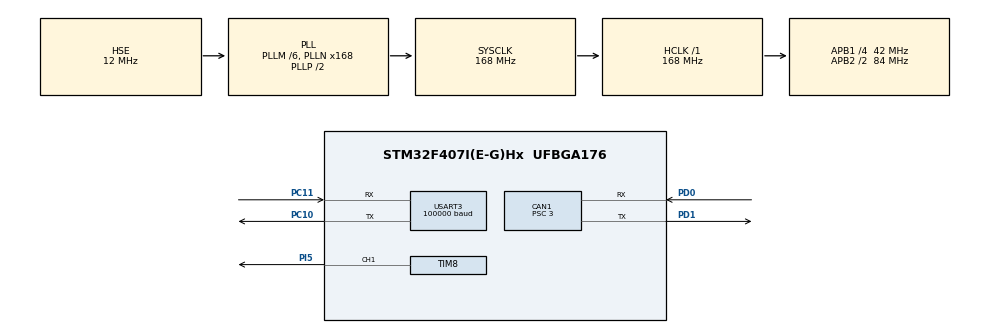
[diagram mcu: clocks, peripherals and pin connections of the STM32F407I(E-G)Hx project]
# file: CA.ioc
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CAN1.BS1=CAN_BS1_7TQ
CAN1.BS2=CAN_BS2_6TQ
CAN1.CalculateBaudRate=1000000
CAN1.CalculateTimeBit=1000
CAN1.CalculateTimeQuantum=71.42857142857143
CAN1.Prescaler=3
Dma.Request0=USART3_RX
Dma.USART3_RX.0.Direction=DMA_PERIPH_TO_MEMORY
Dma.USART3_RX.0.FIFOMode=DMA_FIFOMODE_DISABLE
Dma.USART3_RX.0.Instance=DMA1_Stream1
Dma.USART3_RX.0.MemDataAlignment=DMA_MDATAALIGN_BYTE
Dma.USART3_RX.0.MemInc=DMA_MINC_ENABLE
Dma.USART3_RX.0.Mode=DMA_NORMAL
Dma.USART3_RX.0.PeriphDataAlignment=DMA_PDATAALIGN_BYTE
Dma.USART3_RX.0.PeriphInc=DMA_PINC_DISABLE
Dma.USART3_RX.0.Priority=DMA_PRIORITY_VERY_HIGH
Mcu.Family=STM32F4
Mcu.Name=STM32F407I(E-G)Hx
Mcu.Package=UFBGA176
NVIC.CAN1_RX0_IRQn=true\:0\:1\:true\:false\:true\:true\:true\:true
NVIC.DMA1_Stream1_IRQn=true\:0\:0\:false\:false\:true\:false\:true\:true
NVIC.PriorityGroup=NVIC_PRIORITYGROUP_2
NVIC.TIM1_UP_TIM10_IRQn=true\:0\:2\:false\:false\:true\:true\:true\:true
NVIC.USART3_IRQn=true\:0\:0\:false\:false\:true\:true\:true\:true
PA13.Mode=Serial_Wire
PA13.Signal=SYS_JTMS-SWDIO
PA14.Mode=Serial_Wire
PA14.Signal=SYS_JTCK-SWCLK
PC10.Mode=Asynchronous
PC10.Signal=USART3_TX
PC11.Mode=Asynchronous
PC11.Signal=USART3_RX
PD0.Mode=CAN_Activate
PD0.Signal=CAN1_RX
PD1.Mode=CAN_Activate
PD1.Signal=CAN1_TX
PH0-OSC_IN.Mode=HSE-External-Oscillator
PH0-OSC_IN.Signal=RCC_OSC_IN
PH1-OSC_OUT.Mode=HSE-External-Oscillator
PH1-OSC_OUT.Signal=RCC_OSC_OUT
PI5.Signal=S_TIM8_CH1
ProjectManager.HeapSize=0x200
ProjectManager.StackSize=0x400
ProjectManager.TargetToolchain=MDK-ARM V5.32
RCC.48MHZClocksFreq_Value=84000000
RCC.AHBFreq_Value=168000000
RCC.APB1CLKDivider=RCC_HCLK_DIV4
RCC.APB1Freq_Value=42000000
RCC.APB1TimFreq_Value=84000000
RCC.APB2CLKDivider=RCC_HCLK_DIV2
RCC.APB2Freq_Value=84000000
RCC.APB2TimFreq_Value=168000000
RCC.CortexFreq_Value=168000000
RCC.HCLKFreq_Value=168000000
RCC.HSE_VALUE=12000000
RCC.HSI_VALUE=16000000
RCC.LSE_VALUE=32768
RCC.PLLM=6
RCC.PLLN=168
RCC.PLLSourceVirtual=RCC_PLLSOURCE_HSE
RCC.SYSCLKFreq_VALUE=168000000
RCC.SYSCLKSource=RCC_SYSCLKSOURCE_PLLCLK
RCC.VCOOutputFreq_Value=336000000
SH.S_TIM8_CH1.0=TIM8_CH1,PWM Generation1 CH1
TIM1.Period=1999
TIM1.Prescaler=167
TIM8.Channel-PWM\ Generation1\ CH1=TIM_CHANNEL_1
TIM8.Period=19999
TIM8.Prescaler=167
USART3.BaudRate=100000
USART3.Mode=MODE_RX
USART3.Parity=PARITY_EVEN
USART3.VirtualMode=VM_ASYNC
VP_TIM1_VS_ClockSourceINT.Mode=Internal
VP_TIM8_VS_ClockSourceINT.Mode=Internal
board=custom

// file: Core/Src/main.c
/* USER CODE BEGIN Header */
/**
  ******************************************************************************
  * @file           : main.c
  * @brief          : Main program body
  ******************************************************************************
  * @attention
  *
  * Copyright (c) 2022 STMicroelectronics.
  * All rights reserved.
  *
  * This software is licensed under terms that can be found in the LICENSE file
  * in the root directory of this software component.
  * If no LICENSE file comes with this software, it is provided AS-IS.
  *
  ******************************************************************************
  */
/* USER CODE END Header */
#include "main.h"
#include "can.h"
#include "dma.h"
#include "tim.h"
#include "usart.h"
#include "gpio.h"

/* USER CODE BEGIN Includes */
#include "pid_user.h"
#include "tim_user.h"
/* USER CODE END Includes */

void SystemClock_Config(void);

int main(void)
{
  /* USER CODE BEGIN 1 */

extern float Target_1,Target_2,Target_3,Target_4;
extern float Speed_Motor_Target_1,Speed_Motor_Target_2,Speed_Motor_Target_3,Speed_Motor_Target_4;
extern float	Position_Motor_Target_1,Position_Motor_Target_2,Position_Motor_Target_3,Position_Motor_Target_4;

  /* USER CODE END 1 */

  /* MCU Configuration--------------------------------------------------------*/

  /* Reset of all peripherals, Initializes the Flash interface and the Systick. */
  HAL_Init();

  /* Configure the system clock */
  SystemClock_Config();

  /* Initialize all configured peripherals */
  MX_GPIO_Init();
  MX_DMA_Init();
  MX_CAN1_Init();
  MX_TIM1_Init();
  MX_TIM8_Init();
  MX_USART3_UART_Init();
  /* USER CODE BEGIN 2 */

	//初始化PWM
	HAL_TIM_Base_Start(&htim8);
	HAL_TIM_PWM_Start(&htim8,TIM_CHANNEL_1);

	//初始化TIM1中断
	//如果不使能定时器中断则
	//HAL_TIM_Base_Start(&htim1);
	//如果使能定时器中断则
	HAL_TIM_Base_Start_IT(&htim1);

	//CAN通信初始化
	CAN1_Filter_Init();
	CAN_Start(&hcan1);
	pid_chassis_init();

	//初始化遥控器
	remote_control_init();
  /* USER CODE END 2 */

  /* Infinite loop */
  /* USER CODE BEGIN WHILE */
  while (1)
  {
		HAL_Delay(1000);
		__HAL_TIM_SetCompare(&htim8,TIM_CHANNEL_1,1000);
		HAL_Delay(2000);
		__HAL_TIM_SetCompare(&htim8,TIM_CHANNEL_1,2000);
		HAL_Delay(2000);

//	 	Target_1 = pid_call_1(Position_Motor_Target_1,1);
//			Speed_Motor_Target_1 = 300;
//			Target_1 = PID_velocity_realize_1(Speed_Motor_Target_1,1);
//			CAN_cmd_chassis(Target_1,0,0,0);
//			HAL_Delay(3);

    /* USER CODE END WHILE */

  }
}

void SystemClock_Config(void)
{
  RCC_OscInitTypeDef RCC_OscInitStruct = {0};
  RCC_ClkInitTypeDef RCC_ClkInitStruct = {0};

  /** Configure the main internal regulator output voltage
  */
  __HAL_RCC_PWR_CLK_ENABLE();
  __HAL_PWR_VOLTAGESCALING_CONFIG(PWR_REGULATOR_VOLTAGE_SCALE1);

  /** Initializes the RCC Oscillators according to the specified parameters
  * in the RCC_OscInitTypeDef structure.
  */
  RCC_OscInitStruct.OscillatorType = RCC_OSCILLATORTYPE_HSE;
  RCC_OscInitStruct.HSEState = RCC_HSE_ON;
  RCC_OscInitStruct.PLL.PLLState = RCC_PLL_ON;
  RCC_OscInitStruct.PLL.PLLSource = RCC_PLLSOURCE_HSE;
  RCC_OscInitStruct.PLL.PLLM = 6;
  RCC_OscInitStruct.PLL.PLLN = 168;
  RCC_OscInitStruct.PLL.PLLP = RCC_PLLP_DIV2;
  RCC_OscInitStruct.PLL.PLLQ = 4;
  if (HAL_RCC_OscConfig(&RCC_OscInitStruct) != HAL_OK)
  {
    Error_Handler();
  }

  /** Initializes the CPU, AHB and APB buses clocks
  */
  RCC_ClkInitStruct.ClockType = RCC_CLOCKTYPE_HCLK|RCC_CLOCKTYPE_SYSCLK
                              |RCC_CLOCKTYPE_PCLK1|RCC_CLOCKTYPE_PCLK2;
  RCC_ClkInitStruct.SYSCLKSource = RCC_SYSCLKSOURCE_PLLCLK;
  RCC_ClkInitStruct.AHBCLKDivider = RCC_SYSCLK_DIV1;
  RCC_ClkInitStruct.APB1CLKDivider = RCC_HCLK_DIV4;
  RCC_ClkInitStruct.APB2CLKDivider = RCC_HCLK_DIV2;

  if (HAL_RCC_ClockConfig(&RCC_ClkInitStruct, FLASH_LATENCY_5) != HAL_OK)
  {
    Error_Handler();
  }
}

void Error_Handler(void)
{
  __disable_irq();
  while (1)
  {
  }
}
